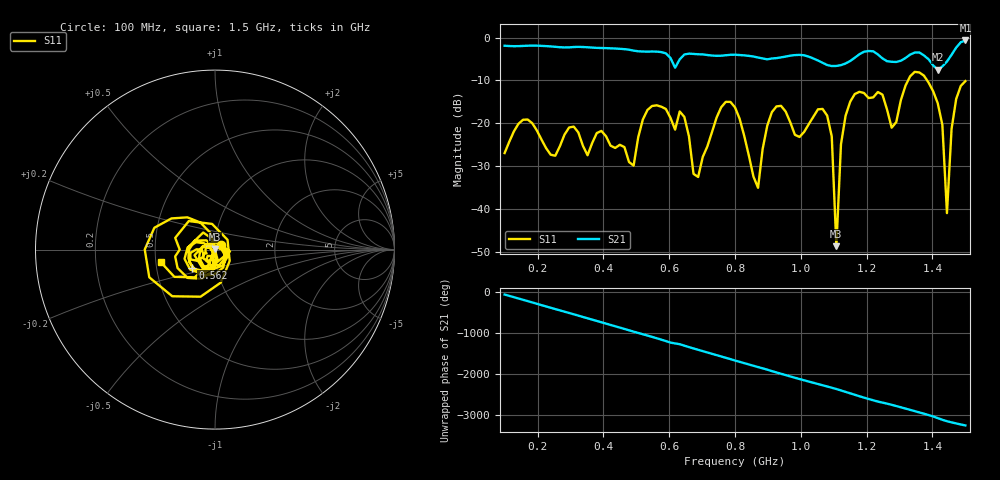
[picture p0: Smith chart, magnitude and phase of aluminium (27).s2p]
! NanoVNA-App
! Date: 2025-09-26 09:58:16
! Start: 100MHz Stop: 1,5GHz Points: 101
! S-Parameter data: F S11 S21 S12 S22
# Hz S RI R 50
!  Frequency  S11_Real  S11_Imag  S21_Real  S21_Imag  S12_Real  S12_Imag  S22_Real  S22_Imag
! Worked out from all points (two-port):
!   101 points, 100 MHz to 1.5 GHz, reference 50 ohm
!   highest |S21| = -0.69 dB at 1.5 GHz (marker M1); lowest = -7.5 dB at 1.416 GHz (marker M2)
!   |S21| within 3 dB of the highest: start of sweep to 589.6 MHz; 1.183 GHz to 1.229 GHz (45.79 MHz wide, 3.8 % of centre) (the widest 2 of 4)
!   lowest |S11| = -48.7 dB at 1.108 GHz (marker M3), VSWR 1.01, Z = 49.8 + j0.31 ohm
!   |S11| at or under -10 dB: start of sweep to 1.326 GHz; 1.384 GHz to end of sweep
!   S12 and S22 are empty: the file has one direction only
!   S11 on the Smith chart (normalised r, x): 100 MHz: 1.07, +0.06; 562 MHz: 0.76, -0.16; 1.5 GHz: 0.53, -0.08
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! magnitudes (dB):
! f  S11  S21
! 100 MHz  -27.0  -1.9
! 338 MHz  -25.3  -2.2
! 492 MHz  -29.9  -3.1
! 562 MHz  -15.8  -3.3
! 576 MHz  -16.1  -3.4
! 646 MHz  -18.5  -4.0
! 688 MHz  -32.5  -3.9
! 800 MHz  -16.3  -4.0
! 870 MHz  -35.1  -4.7
! 912 MHz  -17.4  -4.9
! 1.038 GHz  -18.5  -4.9
! 1.094 GHz  -23.1  -6.7
! 1.108 GHz  -48.7  -6.6
! 1.122 GHz  -24.9  -6.4
! 1.15 GHz  -15.0  -5.5
! 1.276 GHz  -21.0  -5.7
! 1.346 GHz  -8.0  -3.5
! 1.416 GHz  -15.3  -7.5
! 1.43 GHz  -20.4  -6.8
! 1.444 GHz  -41.0  -5.6
! 1.458 GHz  -21.3  -4.0
! 1.5 GHz  -10.2  -0.7
